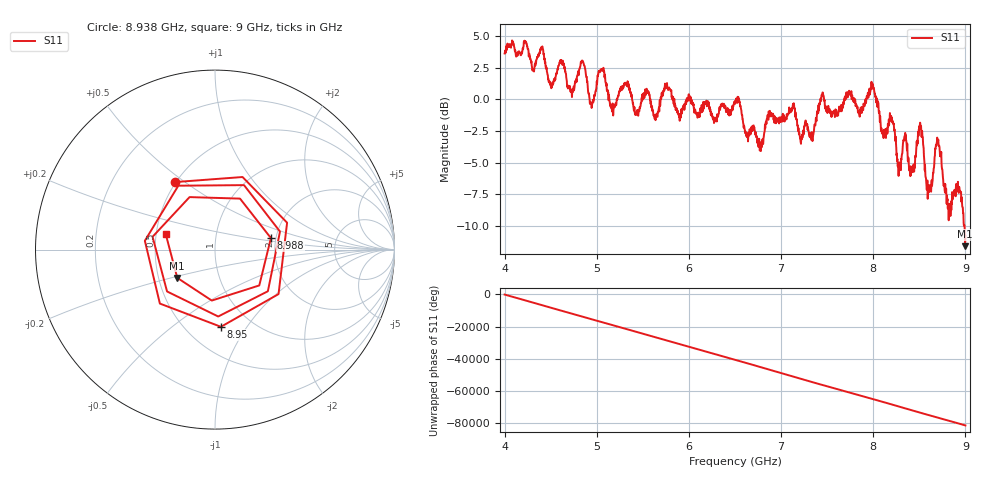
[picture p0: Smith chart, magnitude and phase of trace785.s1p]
! Created with skrf 1.8.0 (http://scikit-rf.org).
# Hz S RI R 50.0
!freq ReS11 ImS11
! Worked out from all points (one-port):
!   1601 points, 4 GHz to 9 GHz, reference 50 ohm
!   lowest |S11| = -11.6 dB at 8.997 GHz (marker M1), VSWR 1.71, Z = 31.3 - j10.6 ohm
!   |S11| at or under -10 dB: 8.991101 GHz to end of sweep
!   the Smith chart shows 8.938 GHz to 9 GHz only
!   S11 on the Smith chart (normalised r, x): 8.938 GHz: 0.49, +0.46; 8.95 GHz: 0.73, -0.77; 8.988 GHz: 1.88, +0.27; 9 GHz: 0.56, +0.11
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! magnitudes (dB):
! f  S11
! 4 GHz  3.6
! 4.625 GHz  2.9
! 4.731 GHz  0.2
! 4.85 GHz  3.0
! 4.944 GHz  -0.7
! 5.047 GHz  2.4
! 5.162 GHz  -0.7
! 5.25 GHz  0.6
! 5.875 GHz  -1.1
! 6.5 GHz  -0.1
! 6.769 GHz  -4.1
! 7.125 GHz  -0.7
! 7.328 GHz  -3.0
! 7.441 GHz  0.4
! 7.75 GHz  0.5
! 7.994 GHz  1.0
! 8.206 GHz  -1.8
! 8.278 GHz  -5.5
! 8.375 GHz  -4.9
! 8.512 GHz  -2.0
! 8.603 GHz  -7.4
! 8.697 GHz  -3.2
! 8.822 GHz  -8.5
! 8.938 GHz  -7.2
! 8.95 GHz  -7.3
! 8.988 GHz  -10.0
! 8.997 GHz  -11.6
! 9 GHz  -10.8
